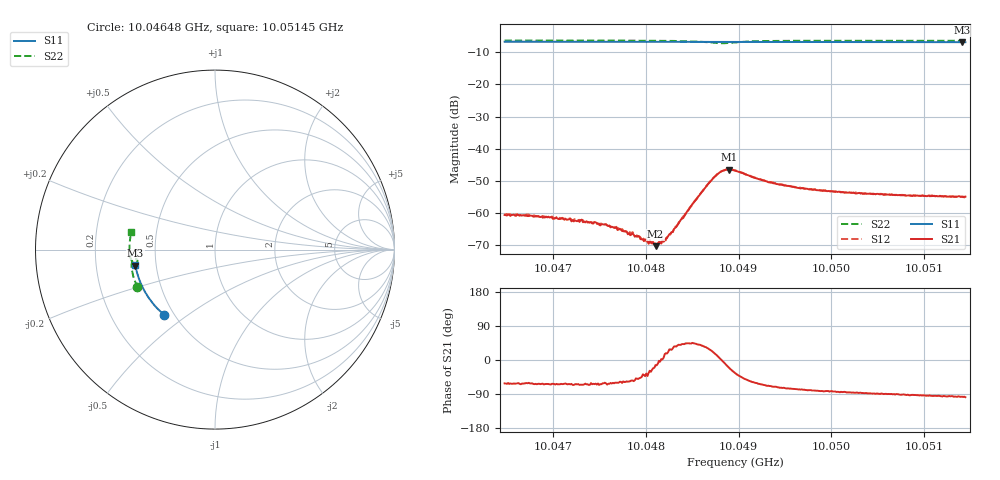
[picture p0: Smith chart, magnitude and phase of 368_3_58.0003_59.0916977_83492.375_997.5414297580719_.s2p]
#  HZ  S  RI  R  50.00
! Rohde & Schwarz Vector Network Analyzer
! Rohde-Schwarz,ZNB20-2Port,1311601062101988,3.16
! Created: UTC 3/21/2024, 1:06:49 AM
! freq[Hz]  re:S11  im:S11  re:S21  im:S21  re:S12  im:S12  re:S22  im:S22
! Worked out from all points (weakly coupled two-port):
!   401 points, 10.04648 GHz to 10.05145 GHz, reference 50 ohm
!   highest |S21| = -46.43 dB at 10.0489 GHz (marker M1); lowest = -70.2 dB at 10.0481 GHz (marker M2)
!   lowest |S11| = -6.9 dB at 10.05141 GHz (marker M3), VSWR 2.65, Z = 19 - j4.29 ohm
!   |S11| at or under -10 dB: nowhere
!   |S22| runs from -7.2 to -6.4 dB; largest |S21 - S12| = 0.00031
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1.0046476e10  -0.2825 -0.364  0.000444 -0.000827  0.00051 -0.000798  -0.4324 -0.2103
1.00467e10  -0.2939 -0.3545  0.000445 -0.000816  0.000477 -0.000783  -0.4383 -0.1966
1.0046948e10  -0.306 -0.3431  0.000397 -0.000791  0.000435 -0.000753  -0.4447 -0.1809
1.0047309e10  -0.3226 -0.3263  0.000332 -0.00072  0.00038 -0.000691  -0.4526 -0.1577
1.004747e10  -0.3302 -0.3184  0.000298 -0.000635  0.000366 -0.000575  -0.4558 -0.147
1.0047657e10  -0.3382 -0.3093  0.000282 -0.00052  0.000352 -0.000511  -0.459 -0.1342
1.0047843e10  -0.346 -0.2998  0.000273 -0.000377  0.000302 -0.000368  -0.4617 -0.1209
1.0048029e10  -0.3535 -0.2901  0.000278 -0.000188  0.00032 -0.000194  -0.4639 -0.1071
1.0048104e10  -0.3566 -0.2865  0.000299 -7.23e-05  0.000335 -5.59e-05  -0.4647 -0.1013
1.0048141e10  -0.358 -0.2844  0.000356 -1.34e-05  0.000352 -2.6e-05  -0.4649 -0.0987
1.0048191e10  -0.36 -0.2817  0.00036 3.58e-05  0.000348 7.45e-05  -0.465 -0.0944
1.0048265e10  -0.363 -0.2777  0.000429 0.000227  0.000397 0.000253  -0.4652 -0.0881
1.0048588e10  -0.375 -0.2602  0.00154 0.00128  0.00146 0.00138  -0.4558 -0.0588
1.0048725e10  -0.3796 -0.2525  0.00325 0.00124  0.0032 0.00144  -0.4407 -0.0526
1.0048812e10  -0.3825 -0.2478  0.00445 3.85e-05  0.00444 0.000331  -0.4316 -0.0601
1.0048899e10  -0.3853 -0.243  0.00446 -0.0017  0.00456 -0.00147  -0.4343 -0.0715
1.0048961e10  -0.3874 -0.2396  0.00379 -0.00257  0.00399 -0.00235  -0.4423 -0.0751
1.0049334e10  -0.3995 -0.218  0.00109 -0.00281  0.00127 -0.00277  -0.4701 -0.0493
1.0049794e10  -0.4124 -0.1907  0.000381 -0.00229  0.000517 -0.00228  -0.476 -0.0132
1.0050626e10  -0.4311 -0.1396  4.21e-06 -0.00193  0.000134 -0.00196  -0.4746 0.045
1.0051409e10  -0.4431 -0.0897  -0.00021 -0.00179  -0.000108 -0.00181  -0.4663 0.0969
1.0051446e10  -0.4436 -0.0874  -0.000257 -0.00179  -0.000148 -0.00179  -0.4658 0.0992
